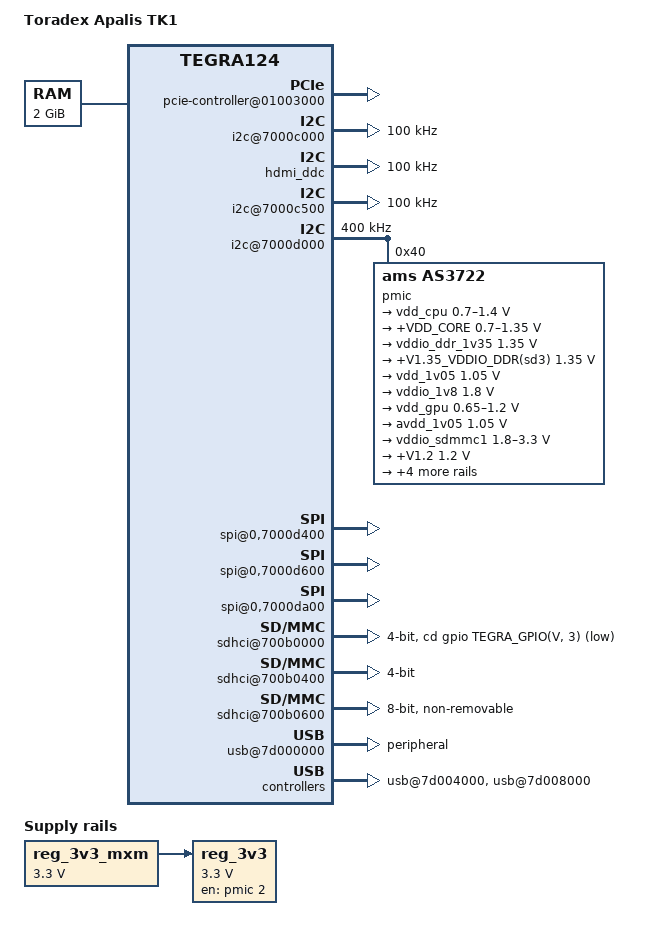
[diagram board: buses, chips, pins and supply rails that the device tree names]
/dts-v1/;

#include "tegra124.dtsi"

/ {
	model = "Toradex Apalis TK1";
	compatible = "toradex,apalis-tk1", "nvidia,tegra124";

	chosen {
		stdout-path = &uarta;
	};

	aliases {
		i2c0 = "/i2c@7000d000";
		i2c1 = "/i2c@7000c000";
		i2c2 = "/i2c@7000c400";
		i2c3 = "/i2c@7000c500";
		sdhci0 = "/sdhci@700b0600";
		sdhci1 = "/sdhci@700b0000";
		sdhci2 = "/sdhci@700b0400";
		spi0 = "/spi@7000d400";
		spi1 = "/spi@7000da00";
		spi2 = "/spi@7000d600";
		usb0 = "/usb@7d000000";
		usb1 = "/usb@7d004000";
		usb2 = "/usb@7d008000";
	};

	memory {
		device_type = "memory";
		reg = <0x80000000 0x80000000>;
	};

	pcie-controller@01003000 {
		status = "okay";

		avddio-pex-supply = <&vdd_1v05>;
		dvddio-pex-supply = <&vdd_1v05>;
		avdd-pex-pll-supply = <&vdd_1v05>;
		hvdd-pex-supply = <&reg_3v3>;
		hvdd-pex-pll-e-supply = <&reg_3v3>;
		vddio-pex-ctl-supply = <&reg_3v3>;
		avdd-pll-erefe-supply = <&avdd_1v05>;

		/* I210 Gigabit Ethernet Controller (on-module) */
		pci@2,0 {
			status = "okay";
		};
	};

	/*
	 * GEN1_I2C: I2C1_SDA/SCL on MXM3 pin 209/211 (e.g. RTC on carrier
	 * board)
	 */
	i2c@7000c000 {
		status = "okay";
		clock-frequency = <100000>;
	};

	/*
	 * GEN2_I2C: I2C2_SDA/SCL (DDC) on MXM3 pin 205/207 (e.g. display EDID)
	 */
	hdmi_ddc: i2c@7000c400 {
		status = "okay";
		clock-frequency = <100000>;
	};

	/*
	 * CAM_I2C: I2C3_SDA/SCL (CAM) on MXM3 pin 201/203 (e.g. camera sensor
	 * on carrier board)
	 */
	i2c@7000c500 {
		status = "okay";
		clock-frequency = <100000>;
	};

	/* I2C4 (DDC): unused */

	/* PWR_I2C: power I2C to audio codec, PMIC and temperature sensor */
	i2c@7000d000 {
		status = "okay";
		clock-frequency = <400000>;

		pmic: pmic@40 {
			compatible = "ams,as3722";
			reg = <0x40>;
			interrupts = <0 86 IRQ_TYPE_LEVEL_HIGH>;

			ams,system-power-controller;

			#interrupt-cells = <2>;
			interrupt-controller;

			gpio-controller;
			#gpio-cells = <2>;

			pinctrl-names = "default";
			pinctrl-0 = <&as3722_default>;

			as3722_default: pinmux {
				/* gpio2: PWR_EN_+V3.3 */

				/* gpio7: +V1.6_LPO */

				gpio1_2_4_7 {
					pins = "gpio1", "gpio2", "gpio4", "gpio7";
					function = "gpio";
					bias-pull-up;
				};

				gpio3_5_6 {
					pins = "gpio3", "gpio5", "gpio6";
					bias-high-impedance;
				};
			};

			regulators {
				vsup-sd2-supply = <&reg_3v3>;
				vsup-sd3-supply = <&reg_3v3>;
				vsup-sd4-supply = <&reg_3v3>;
				vsup-sd5-supply = <&reg_3v3>;
				vin-ldo0-supply = <&vddio_ddr_1v35>;
				vin-ldo1-6-supply = <&reg_3v3>;
				vin-ldo2-5-7-supply = <&vddio_1v8>;
				vin-ldo3-4-supply = <&reg_3v3>;
				vin-ldo9-10-supply = <&reg_3v3>;
				vin-ldo11-supply = <&reg_3v3>;

				vdd_cpu: sd0 {
					regulator-name = "+VDD_CPU_AP";
					regulator-min-microvolt = <700000>;
					regulator-max-microvolt = <1400000>;
					regulator-min-microamp = <3500000>;
					regulator-max-microamp = <3500000>;
					regulator-always-on;
					regulator-boot-on;
					ams,ext-control = <2>;
				};

				sd1 {
					regulator-name = "+VDD_CORE";
					regulator-min-microvolt = <700000>;
					regulator-max-microvolt = <1350000>;
					regulator-min-microamp = <2500000>;
					regulator-max-microamp = <2500000>;
					regulator-always-on;
					regulator-boot-on;
					ams,ext-control = <1>;
				};

				vddio_ddr_1v35: sd2 {
					regulator-name = "+V1.35_VDDIO_DDR(sd2)";
					regulator-min-microvolt = <1350000>;
					regulator-max-microvolt = <1350000>;
					regulator-always-on;
					regulator-boot-on;
				};

				sd3 {
					regulator-name = "+V1.35_VDDIO_DDR(sd3)";
					regulator-min-microvolt = <1350000>;
					regulator-max-microvolt = <1350000>;
					regulator-always-on;
					regulator-boot-on;
				};

				vdd_1v05: sd4 {
					regulator-name = "+V1.05";
					regulator-min-microvolt = <1050000>;
					regulator-max-microvolt = <1050000>;
				};

				vddio_1v8: sd5 {
					regulator-name = "+V1.8";
					regulator-min-microvolt = <1800000>;
					regulator-max-microvolt = <1800000>;
					regulator-boot-on;
					regulator-always-on;
				};

				vdd_gpu: sd6 {
					regulator-name = "+VDD_GPU_AP";
					regulator-min-microvolt = <650000>;
					regulator-max-microvolt = <1200000>;
					regulator-min-microamp = <3500000>;
					regulator-max-microamp = <3500000>;
					regulator-boot-on;
					regulator-always-on;
				};

				avdd_1v05: ldo0 {
					regulator-name = "+V1.05_AVDD";
					regulator-min-microvolt = <1050000>;
					regulator-max-microvolt = <1050000>;
					regulator-boot-on;
					regulator-always-on;
					ams,ext-control = <1>;
				};

				vddio_sdmmc1: ldo1 {
					regulator-name = "VDDIO_SDMMC1";
					regulator-min-microvolt = <1800000>;
					regulator-max-microvolt = <3300000>;
				};

				ldo2 {
					regulator-name = "+V1.2";
					regulator-min-microvolt = <1200000>;
					regulator-max-microvolt = <1200000>;
					regulator-boot-on;
					regulator-always-on;
				};

				ldo3 {
					regulator-name = "+V1.05_RTC";
					regulator-min-microvolt = <1000000>;
					regulator-max-microvolt = <1000000>;
					regulator-boot-on;
					regulator-always-on;
					ams,enable-tracking;
				};

				/* 1.8V for LVDS, 3.3V for eDP */
				ldo4 {
					regulator-name = "AVDD_LVDS0_PLL";
					regulator-min-microvolt = <1800000>;
					regulator-max-microvolt = <1800000>;
				};

				/* LDO5 not used */

				vddio_sdmmc3: ldo6 {
					regulator-name = "VDDIO_SDMMC3";
					regulator-min-microvolt = <1800000>;
					regulator-max-microvolt = <3300000>;
				};

				/* LDO7 not used */

				/* LDO9 not used */

				/* LDO10 not used */

				ldo11 {
					regulator-name = "+V1.8_VPP_FUSE";
					regulator-min-microvolt = <1800000>;
					regulator-max-microvolt = <1800000>;
				};
			};
		};
	};

	/* SPI1: Apalis SPI1 */
	spi@0,7000d400 {
		status = "okay";
		spi-max-frequency = <25000000>;
	};

	/* SPI2: MCU SPI */
	spi@0,7000d600 {
		status = "okay";
		spi-max-frequency = <25000000>;
	};

	/* SPI4: Apalis SPI2 */
	spi@0,7000da00 {
		status = "okay";
		spi-max-frequency = <25000000>;
	};

	padctl@7009f000 {
		pinctrl-0 = <&padctl_default>;
		pinctrl-names = "default";

		padctl_default: pinmux {
			usb3 {
				nvidia,lanes = "pcie-0", "pcie-1";
				nvidia,function = "usb3";
				nvidia,iddq = <0>;
			};

			pcie {
				nvidia,lanes = "pcie-2", "pcie-3",
					       "pcie-4";
				nvidia,function = "pcie";
				nvidia,iddq = <0>;
			};

			sata {
				nvidia,lanes = "sata-0";
				nvidia,function = "sata";
				nvidia,iddq = <0>;
			};
		};
	};

	/* Apalis MMC1 */
	sdhci@700b0000 {
		status = "okay";
		/* MMC1_CD# */
		cd-gpios = <&gpio TEGRA_GPIO(V, 3) GPIO_ACTIVE_LOW>;
		bus-width = <4>;
	};

	/* Apalis SD1 */
	sdhci@700b0400 {
		status = "okay";
		/*
		 * Don't use SD1_CD# aka SDMMC3_CLK_LB_OUT for now as it
		 * features some magic properties even though the external
		 * loopback is disabled and the internal loopback used as per
		 * SDMMC_VENDOR_MISC_CNTRL_0 register's SDMMC_SPARE1 bits being
		 * set to 0xfffd according to the TRM!
		 * cd-gpios = <&gpio TEGRA_GPIO(EE, 4) GPIO_ACTIVE_LOW>;
		 */
		bus-width = <4>;
	};

	/* eMMC */
	sdhci@700b0600 {
		status = "okay";
		bus-width = <8>;
		non-removable;
	};

	/* EHCI instance 0: USB1_DP/N -> USBO1_DP/N */
	usb@7d000000 {
		status = "okay";
		dr_mode = "peripheral";
		/* USBO1_EN */
		nvidia,vbus-gpio = <&gpio TEGRA_GPIO(N, 4) GPIO_ACTIVE_HIGH>;
	};

	/* EHCI instance 1: USB2_DP/N -> USBH2_DP/N */
	usb@7d004000 {
		status = "okay";
		/* USBH_EN */
		nvidia,vbus-gpio = <&gpio TEGRA_GPIO(N, 5) GPIO_ACTIVE_HIGH>;
		phy_type = "utmi";
	};

	/* EHCI instance 2: USB3_DP/N -> USBH4_DP/N */
	usb@7d008000 {
		status = "okay";
		nvidia,vbus-gpio = <&gpio TEGRA_GPIO(N, 5) GPIO_ACTIVE_HIGH>;
	};

	reg_3v3_mxm: regulator-3v3-mxm {
		compatible = "regulator-fixed";
		regulator-name = "+V3.3_MXM";
		regulator-min-microvolt = <3300000>;
		regulator-max-microvolt = <3300000>;
	};

	reg_3v3: regulator-3v3 {
		compatible = "regulator-fixed";
		regulator-name = "+V3.3";
		regulator-min-microvolt = <3300000>;
		regulator-max-microvolt = <3300000>;
		gpio = <&pmic 2 GPIO_ACTIVE_HIGH>;
		enable-active-high;
		vin-supply = <&reg_3v3_mxm>;
	};
};
